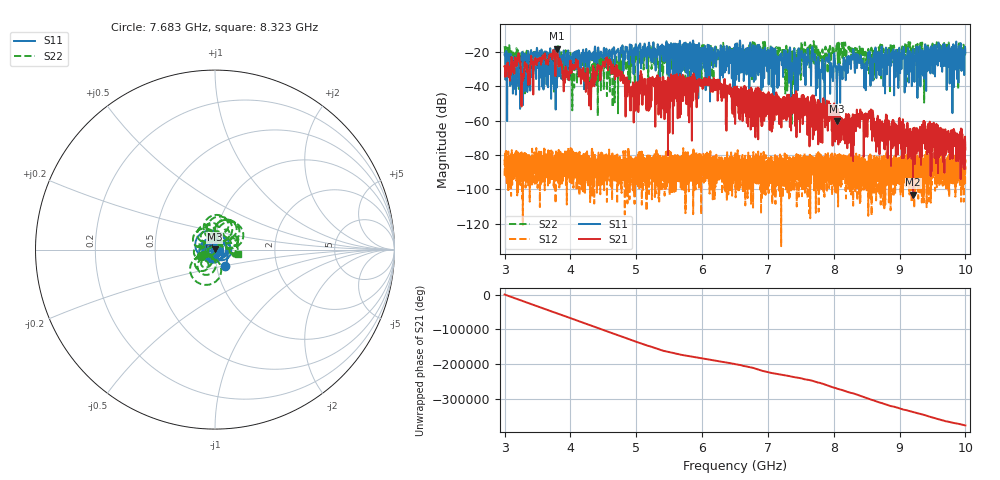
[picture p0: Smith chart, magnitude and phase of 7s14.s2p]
!Agilent Technologies,E8363B,MY43030572,A.06.04.32
!Agilent E8363B: A.06.04.32
!Date: Tuesday, June 07, 2011 08:46:38
!Correction: S11(Full 2 Port(1,2)) S21(Full 2 Port(1,2)) S12(Full 2 Port(1,2)) S22(Full 2 Port(1,2))
!S2P File: Measurements: S11, S21, S12, S22:
# Hz S  dB  R 50
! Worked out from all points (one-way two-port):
!   6401 points, 3 GHz to 10 GHz, reference 50 ohm
!   highest |S21| = -18.11 dB at 3.8 GHz (marker M1); lowest = -103.3 dB at 9.206 GHz (marker M2)
!   lowest |S11| = -60.4 dB at 8.047 GHz (marker M3), VSWR 1.00, Z = 49.9 + j0.0729 ohm
!   |S11| at or under -10 dB: start of sweep to end of sweep
!   |S22| runs from -61.9 to -13.7 dB; largest |S21 - S12| = 0.12
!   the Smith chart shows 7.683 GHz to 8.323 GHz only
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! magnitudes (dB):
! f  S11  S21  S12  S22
! 3 GHz  -21.6  -28.5  -92.1  -16.6
! 3.192 GHz  -31.7  -25.3  -81.4  -38.3
! 3.279 GHz  -38.9  -34.7  -99.1  -22.2
! 3.8 GHz  -24.7  -18.1  -94.1  -34.3
! 3.909 GHz  -25.3  -35.4  -86.0  -25.6
! 4.167 GHz  -21.6  -32.0  -84.1  -24.9
! 4.3 GHz  -22.1  -40.9  -85.2  -41.0
! 4.566 GHz  -22.1  -25.9  -80.7  -29.7
! 4.936 GHz  -23.2  -45.2  -89.6  -21.9
! 5.334 GHz  -19.1  -37.4  -90.1  -26.7
! 6.087 GHz  -16.0  -36.1  -83.7  -18.3
! 6.5 GHz  -18.9  -43.8  -82.7  -22.8
! 7.055 GHz  -28.1  -46.3  -90.4  -19.4
! 7.353 GHz  -31.3  -52.6  -87.5  -19.8
! 7.667 GHz  -18.7  -48.0  -88.7  -17.2
! 7.763 GHz  -22.8  -56.7  -86.2  -18.6
! 8.047 GHz  -60.4  -58.5  -94.8  -14.4
! 8.556 GHz  -32.6  -54.9  -82.9  -24.2
! 8.834 GHz  -19.6  -60.0  -94.0  -21.2
! 9.206 GHz  -18.3  -103.3  -91.7  -16.6
! 9.491 GHz  -25.0  -68.8  -97.4  -18.4
! 10 GHz  -20.4  -76.9  -88.6  -21.1
